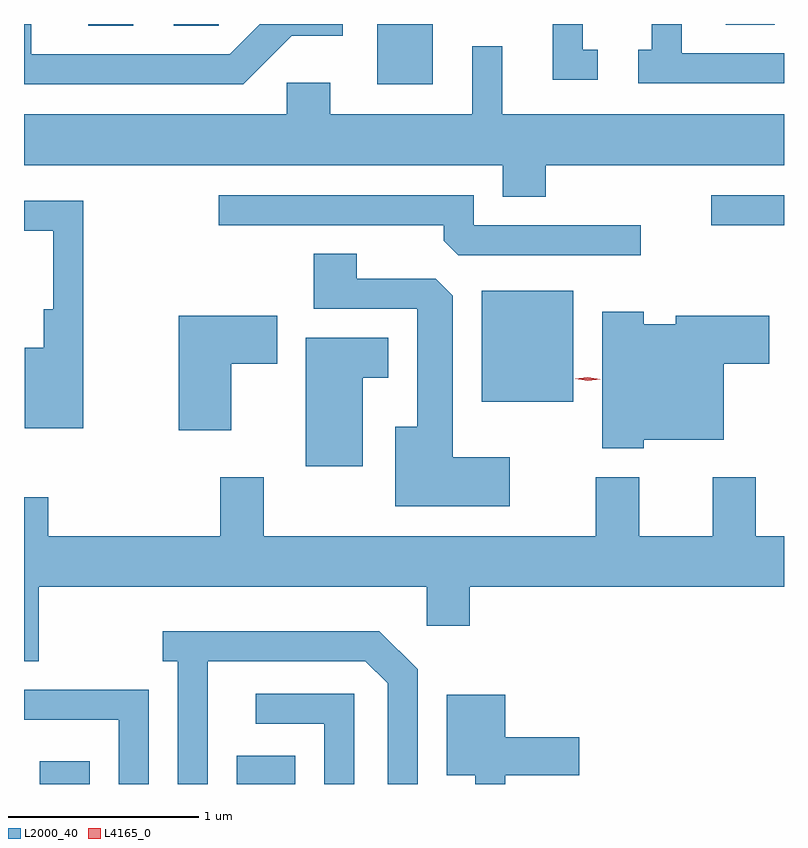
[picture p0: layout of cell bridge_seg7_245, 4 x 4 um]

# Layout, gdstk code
import gdstk
lib = gdstk.Library(unit=1e-6, precision=1e-09)
def R(c, l, rs):  # rectangles x0, y0, x1, y1
    for r in rs: c.add(gdstk.rectangle(r[:2], r[2:], *l))
def P(c, l, *ps):  # polygons
    for p in ps: c.add(gdstk.Polygon(p, *l))
L2000_40 = (2000, 40)
L4165_0 = (4165, 0)

bridge_seg7_245 = lib.new_cell('bridge_seg7_245')
R(bridge_seg7_245, L2000_40, [(1802.946,1726.599,1803.209,1726.719), (1803.981,1726.599,1804.289,1726.749), (1805.271,1728.611,1805.754,1729.194), (1806.478,1729.541,1806.862,1729.699), (1804.721,1730.281,1805.014,1730.599), (1803.201,1730.591,1803.438,1730.599), (1803.651,1730.591,1803.888,1730.599), (1806.556,1730.596,1806.814,1730.599)])
P(bridge_seg7_245, L2000_40, [(1805.883,1730.464),(1805.804,1730.464),(1805.804,1730.599),(1805.646,1730.599),(1805.646,1730.306),(1805.883,1730.306)],
  [(1804.272,1730.536),(1804.539,1730.536),(1804.539,1730.599),(1804.104,1730.599),(1803.944,1730.439),(1802.899,1730.439),(1802.899,1730.599),(1802.862,1730.599),(1802.862,1730.281),(1804.017,1730.281)],
  [(1806.862,1730.444),(1806.324,1730.444),(1806.324,1730.599),(1806.166,1730.599),(1806.166,1730.464),(1806.096,1730.464),(1806.096,1730.286),(1806.862,1730.286)],
  [(1805.609,1729.856),(1806.862,1729.856),(1806.862,1730.124),(1805.379,1730.124),(1805.379,1730.483),(1805.221,1730.483),(1805.221,1730.124),(1804.474,1730.124),(1804.474,1730.289),(1804.246,1730.289),(1804.246,1730.124),(1802.862,1730.124),(1802.862,1729.856),(1805.381,1729.856),(1805.381,1729.691),(1805.609,1729.691)],
  [(1806.108,1729.539),(1805.229,1729.539),(1805.229,1729.699),(1803.888,1729.699),(1803.888,1729.541),(1805.071,1729.541),(1805.071,1729.457),(1805.147,1729.381),(1806.108,1729.381)],
  [(1803.174,1729.669),(1802.862,1729.669),(1802.862,1729.511),(1803.016,1729.511),(1803.016,1729.099),(1802.966,1729.099),(1802.966,1728.894),(1802.866,1728.894),(1802.866,1728.471),(1803.174,1728.471)],
  [(1805.419,1728.319),(1805.119,1728.319),(1805.119,1729.169),(1805.029,1729.259),(1804.614,1729.259),(1804.614,1729.389),(1804.386,1729.389),(1804.386,1729.101),(1804.931,1729.101),(1804.931,1728.479),(1804.816,1728.479),(1804.816,1728.061),(1805.419,1728.061)],
  [(1806.124,1728.411),(1806.544,1728.411),(1806.544,1728.811),(1806.784,1728.811),(1806.784,1729.064),(1806.291,1729.064),(1806.291,1729.019),(1806.124,1729.019),(1806.124,1729.084),(1805.906,1729.084),(1805.906,1728.366),(1806.124,1728.366)],
  [(1803.954,1728.811),(1804.194,1728.811),(1804.194,1729.064),(1803.676,1729.064),(1803.676,1728.461),(1803.954,1728.461)],
  [(1804.644,1728.736),(1804.779,1728.736),(1804.779,1728.949),(1804.346,1728.949),(1804.346,1728.271),(1804.644,1728.271)],
  [(1802.939,1727.636),(1804.981,1727.636),(1804.981,1727.431),(1805.209,1727.431),(1805.209,1727.636),(1806.862,1727.636),(1806.862,1727.904),(1806.714,1727.904),(1806.714,1728.214),(1806.486,1728.214),(1806.486,1727.904),(1806.099,1727.904),(1806.099,1728.214),(1805.871,1728.214),(1805.871,1727.904),(1804.124,1727.904),(1804.124,1728.214),(1803.896,1728.214),(1803.896,1727.904),(1802.989,1727.904),(1802.989,1728.109),(1802.862,1728.109),(1802.862,1727.246),(1802.939,1727.246)],
  [(1803.829,1727.246),(1804.659,1727.246),(1804.776,1727.129),(1804.776,1726.599),(1804.934,1726.599),(1804.934,1727.202),(1804.732,1727.404),(1803.593,1727.404),(1803.593,1727.246),(1803.671,1727.246),(1803.671,1726.599),(1803.829,1726.599)],
  [(1803.519,1727.094),(1802.862,1727.094),(1802.862,1726.936),(1803.361,1726.936),(1803.361,1726.599),(1803.519,1726.599)],
  [(1804.599,1727.074),(1804.083,1727.074),(1804.083,1726.916),(1804.441,1726.916),(1804.441,1726.599),(1804.599,1726.599)],
  [(1805.394,1726.646),(1805.784,1726.646),(1805.784,1726.844),(1805.394,1726.844),(1805.394,1727.069),(1805.086,1727.069),(1805.086,1726.646),(1805.236,1726.646),(1805.236,1726.599),(1805.394,1726.599)])
P(bridge_seg7_245, L4165_0, [(1805.828,1728.721),(1805.762,1728.732),(1805.762,1728.732),(1805.762,1728.733),(1805.828,1728.74),(1805.894,1728.73),(1805.895,1728.729),(1805.894,1728.728)])

lib.write_gds('bridge_seg7_245.gds')
